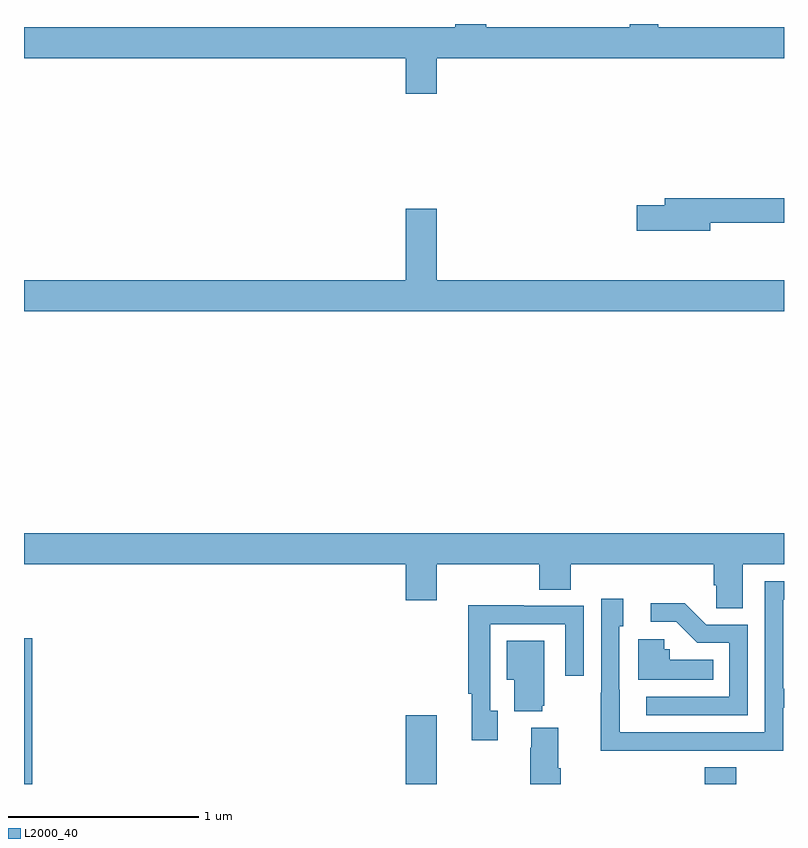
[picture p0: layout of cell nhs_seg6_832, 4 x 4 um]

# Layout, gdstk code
import gdstk
lib = gdstk.Library(unit=1e-6, precision=1e-09)
def R(c, l, rs):  # rectangles x0, y0, x1, y1
    for r in rs: c.add(gdstk.rectangle(r[:2], r[2:], *l))
def P(c, l, *ps):  # polygons
    for p in ps: c.add(gdstk.Polygon(p, *l))
L2000_40 = (2000, 40)

nhs_seg6_832 = lib.new_cell('nhs_seg6_832')
R(nhs_seg6_832, L2000_40, [(163,959.5,163.043,960.268), (165.008,959.5,165.172,959.863), (166.583,959.5,166.748,959.587)])
P(nhs_seg6_832, L2000_40, [(165.172,963.32),(167,963.32),(167,963.484),(166.339,963.484),(166.339,963.5),(166.187,963.5),(166.187,963.484),(165.434,963.484),(165.434,963.5),(165.269,963.5),(165.269,963.484),(163,963.484),(163,963.32),(165.008,963.32),(165.008,963.132),(165.172,963.132)],
  [(166.612,962.454),(167,962.454),(167,962.582),(166.373,962.582),(166.373,962.546),(166.224,962.546),(166.224,962.411),(166.612,962.411)],
  [(167,962.152),(165.172,962.152),(165.172,962.527),(165.008,962.527),(165.008,962.152),(163,962.152),(163,961.988),(167,961.988)],
  [(163,960.656),(165.008,960.656),(165.008,960.468),(165.172,960.468),(165.172,960.656),(165.713,960.656),(165.713,960.523),(165.878,960.523),(165.878,960.656),(166.631,960.656),(166.631,960.547),(166.644,960.547),(166.644,960.424),(166.783,960.424),(166.783,960.656),(167,960.656),(167,960.82),(163,960.82)],
  [(166.499,959.676),(166.995,959.676),(166.995,959.901),(167,959.901),(167,960.002),(166.995,960.002),(166.995,960.471),(167,960.471),(167,960.567),(166.899,960.567),(166.899,959.772),(166.135,959.772),(166.135,959.996),(166.134,959.996),(166.134,960.33),(166.153,960.33),(166.153,960.475),(166.038,960.475),(166.038,959.981),(166.036,959.981),(166.036,959.675),(166.499,959.675)],
  [(166.809,960.339),(166.59,960.339),(166.477,960.452),(166.299,960.452),(166.299,960.354),(166.433,960.354),(166.544,960.243),(166.713,960.243),(166.713,959.958),(166.275,959.958),(166.275,959.862),(166.809,959.862)],
  [(165.493,959.886),(165.453,959.886),(165.453,960.342),(165.849,960.342),(165.849,960.069),(165.945,960.069),(165.945,960.438),(165.629,960.438),(165.629,960.44),(165.337,960.44),(165.337,959.974),(165.356,959.974),(165.356,959.73),(165.493,959.73)],
  [(166.628,960.154),(166.398,960.154),(166.398,960.21),(166.371,960.21),(166.371,960.262),(166.232,960.262),(166.232,960.05),(166.628,960.05)],
  [(165.728,959.913),(165.739,959.913),(165.739,960.253),(165.542,960.253),(165.542,960.05),(165.581,960.05),(165.581,959.882),(165.728,959.882)],
  [(165.824,959.584),(165.811,959.584),(165.811,959.797),(165.671,959.797),(165.671,959.69),(165.664,959.69),(165.664,959.5),(165.824,959.5)])

lib.write_gds('nhs_seg6_832.gds')
